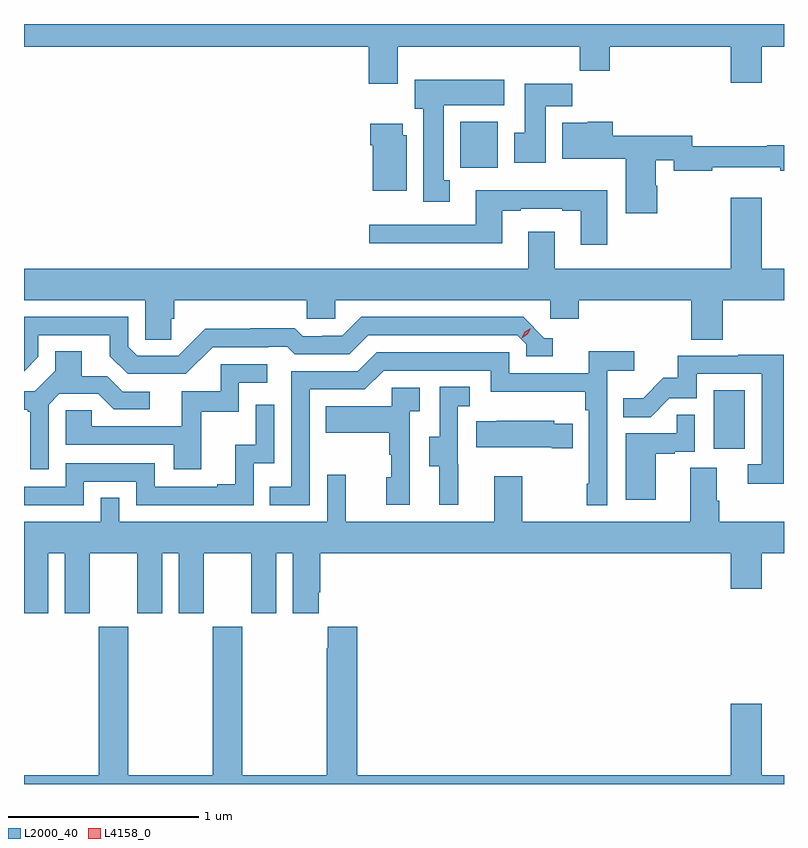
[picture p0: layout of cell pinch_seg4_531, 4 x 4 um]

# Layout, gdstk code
import gdstk
lib = gdstk.Library(unit=1e-6, precision=1e-09)
def R(c, l, rs):  # rectangles x0, y0, x1, y1
    for r in rs: c.add(gdstk.rectangle(r[:2], r[2:], *l))
def P(c, l, *ps):  # polygons
    for p in ps: c.add(gdstk.Polygon(p, *l))
L2000_40 = (2000, 40)
L4158_0 = (4158, 0)

pinch_seg4_531 = lib.new_cell('pinch_seg4_531')
R(pinch_seg4_531, L2000_40, [(1123.958,772.062,1124.122,772.369), (1122.626,773.54,1122.823,773.782)])
P(pinch_seg4_531, L2000_40, [(1120.329,774.176),(1122.143,774.176),(1122.143,773.982),(1122.295,773.982),(1122.295,774.176),(1123.255,774.176),(1123.255,774.052),(1123.412,774.052),(1123.412,774.176),(1124.048,774.176),(1124.048,773.988),(1124.212,773.988),(1124.212,774.176),(1124.329,774.176),(1124.329,774.297),(1120.329,774.297)],
  [(1122.571,773.474),(1122.538,773.474),(1122.538,773.87),(1122.856,773.87),(1122.856,774.004),(1122.386,774.004),(1122.386,773.85),(1122.431,773.85),(1122.431,773.361),(1122.571,773.361)],
  [(1123.075,773.864),(1123.214,773.864),(1123.214,773.983),(1122.965,773.983),(1122.965,773.724),(1122.908,773.724),(1122.908,773.568),(1123.075,773.568)],
  [(1123.662,773.447),(1123.654,773.447),(1123.654,773.581),(1123.749,773.581),(1123.749,773.524),(1123.952,773.524),(1123.952,773.543),(1124.308,773.543),(1124.308,773.524),(1124.329,773.524),(1124.329,773.66),(1124.242,773.66),(1124.242,773.653),(1123.845,773.653),(1123.845,773.71),(1123.427,773.71),(1123.427,773.782),(1123.296,773.782),(1123.296,773.776),(1123.163,773.776),(1123.163,773.588),(1123.496,773.588),(1123.496,773.301),(1123.662,773.301)],
  [(1122.343,773.712),(1122.322,773.712),(1122.322,773.773),(1122.152,773.773),(1122.152,773.66),(1122.164,773.66),(1122.164,773.42),(1122.343,773.42)],
  [(1123.399,773.422),(1122.707,773.422),(1122.707,773.241),(1122.147,773.241),(1122.147,773.144),(1122.847,773.144),(1122.847,773.313),(1122.943,773.313),(1122.943,773.325),(1123.163,773.325),(1123.163,773.313),(1123.259,773.313),(1123.259,773.136),(1123.399,773.136)],
  [(1121.105,772.746),(1121.12,772.746),(1121.12,772.844),(1121.817,772.844),(1121.817,772.746),(1121.967,772.746),(1121.967,772.844),(1123.098,772.844),(1123.098,772.746),(1123.25,772.746),(1123.25,772.844),(1123.841,772.844),(1123.841,772.636),(1124.006,772.636),(1124.006,772.844),(1124.329,772.844),(1124.329,773.008),(1124.212,773.008),(1124.212,773.383),(1124.048,773.383),(1124.048,773.008),(1123.123,773.008),(1123.123,773.203),(1122.983,773.203),(1122.983,773.008),(1120.329,773.008),(1120.329,772.844),(1120.968,772.844),(1120.968,772.636),(1121.105,772.636)],
  [(1121.322,772.596),(1121.615,772.596),(1121.615,772.599),(1121.714,772.599),(1121.753,772.56),(1122.042,772.56),(1122.141,772.659),(1122.924,772.659),(1122.972,772.611),(1122.972,772.548),(1123.111,772.548),(1123.111,772.644),(1123.068,772.644),(1122.957,772.755),(1122.104,772.755),(1122.005,772.656),(1121.898,772.656),(1121.898,772.653),(1121.795,772.653),(1121.753,772.696),(1121.52,772.696),(1121.52,772.693),(1121.284,772.693),(1121.142,772.551),(1120.926,772.551),(1120.878,772.599),(1120.878,772.755),(1120.329,772.755),(1120.329,772.47),(1120.404,772.545),(1120.404,772.659),(1120.781,772.659),(1120.781,772.549),(1120.875,772.455),(1121.181,772.455)],
  [(1120.458,772.293),(1120.515,772.35),(1120.721,772.35),(1120.802,772.269),(1120.99,772.269),(1120.99,772.362),(1120.848,772.362),(1120.768,772.442),(1120.633,772.442),(1120.633,772.574),(1120.493,772.574),(1120.493,772.472),(1120.386,772.365),(1120.329,772.365),(1120.329,772.268),(1120.35,772.268),(1120.35,772.257),(1120.361,772.257),(1120.361,771.954),(1120.458,771.954)],
  [(1121.832,772.374),(1122.123,772.374),(1122.222,772.473),(1122.786,772.473),(1122.786,772.361),(1123.282,772.361),(1123.282,772.265),(1123.302,772.265),(1123.302,771.877),(1123.29,771.877),(1123.29,771.765),(1123.398,771.765),(1123.398,772.472),(1123.54,772.472),(1123.54,772.574),(1123.301,772.574),(1123.301,772.458),(1122.882,772.458),(1122.882,772.569),(1122.185,772.569),(1122.086,772.47),(1121.736,772.47),(1121.736,771.861),(1121.623,771.861),(1121.623,771.765),(1121.832,771.765)],
  [(1124.327,772.556),(1124.089,772.556),(1124.089,772.551),(1123.771,772.551),(1123.771,772.434),(1123.694,772.434),(1123.587,772.327),(1123.483,772.327),(1123.483,772.228),(1123.627,772.228),(1123.725,772.326),(1123.869,772.326),(1123.869,772.455),(1124.211,772.455),(1124.211,771.981),(1124.139,771.981),(1124.139,771.876),(1124.327,771.876)],
  [(1121.261,772.257),(1121.46,772.257),(1121.46,772.41),(1121.608,772.41),(1121.608,772.506),(1121.364,772.506),(1121.364,772.365),(1121.159,772.365),(1121.159,772.179),(1120.685,772.179),(1120.685,772.263),(1120.548,772.263),(1120.548,772.083),(1121.117,772.083),(1121.117,771.954),(1121.261,771.954)],
  [(1122.614,771.981),(1122.612,771.981),(1122.612,772.285),(1122.676,772.285),(1122.676,772.388),(1122.516,772.388),(1122.516,772.125),(1122.461,772.125),(1122.461,771.97),(1122.515,771.97),(1122.515,771.768),(1122.614,771.768)],
  [(1122.36,772.259),(1122.412,772.259),(1122.412,772.383),(1122.264,772.383),(1122.264,772.285),(1121.917,772.285),(1121.917,772.145),(1122.252,772.145),(1122.252,772.031),(1122.262,772.031),(1122.262,771.912),(1122.236,771.912),(1122.236,771.768),(1122.36,771.768)],
  [(1120.644,771.888),(1120.92,771.888),(1120.92,771.765),(1121.538,771.765),(1121.538,771.984),(1121.646,771.984),(1121.646,772.294),(1121.55,772.294),(1121.55,772.082),(1121.441,772.082),(1121.441,771.874),(1121.345,771.874),(1121.345,771.861),(1121.016,771.861),(1121.016,771.984),(1120.548,771.984),(1120.548,771.861),(1120.329,771.861),(1120.329,771.765),(1120.644,771.765)],
  [(1123.654,772.035),(1123.754,772.035),(1123.754,772.047),(1123.86,772.047),(1123.86,772.241),(1123.765,772.241),(1123.765,772.143),(1123.496,772.143),(1123.496,771.792),(1123.654,771.792)],
  [(1123.217,772.192),(1123.119,772.192),(1123.119,772.21),(1122.817,772.21),(1122.817,772.207),(1122.709,772.207),(1122.709,772.07),(1123.106,772.07),(1123.106,772.063),(1123.217,772.063)],
  [(1120.456,771.512),(1120.544,771.512),(1120.544,771.195),(1120.675,771.195),(1120.675,771.512),(1120.925,771.512),(1120.925,771.195),(1121.056,771.195),(1121.056,771.512),(1121.144,771.512),(1121.144,771.195),(1121.275,771.195),(1121.275,771.512),(1121.525,771.512),(1121.525,771.195),(1121.656,771.195),(1121.656,771.512),(1121.744,771.512),(1121.744,771.195),(1121.881,771.195),(1121.881,771.307),(1121.888,771.307),(1121.888,771.512),(1124.048,771.512),(1124.048,771.324),(1124.212,771.324),(1124.212,771.512),(1124.329,771.512),(1124.329,771.676),(1123.988,771.676),(1123.988,771.788),(1123.975,771.788),(1123.975,771.962),(1123.835,771.962),(1123.835,771.676),(1122.951,771.676),(1122.951,771.916),(1122.803,771.916),(1122.803,771.676),(1122.023,771.676),(1122.023,771.925),(1121.925,771.925),(1121.925,771.676),(1120.83,771.676),(1120.83,771.803),(1120.734,771.803),(1120.734,771.676),(1120.329,771.676),(1120.329,771.195),(1120.456,771.195)],
  [(1124.329,770.344),(1124.212,770.344),(1124.212,770.719),(1124.048,770.719),(1124.048,770.344),(1122.083,770.344),(1122.083,771.124),(1121.927,771.124),(1121.927,771.011),(1121.923,771.011),(1121.923,770.344),(1121.478,770.344),(1121.478,771.124),(1121.323,771.124),(1121.323,770.344),(1120.878,770.344),(1120.878,771.124),(1120.723,771.124),(1120.723,770.344),(1120.329,770.344),(1120.329,770.297),(1124.329,770.297)])
P(pinch_seg4_531, L4158_0, [(1122.949,772.644),(1122.949,772.644),(1122.965,772.677),(1122.996,772.696),(1122.996,772.696),(1122.996,772.696),(1122.98,772.663),(1122.949,772.644)])

lib.write_gds('pinch_seg4_531.gds')
